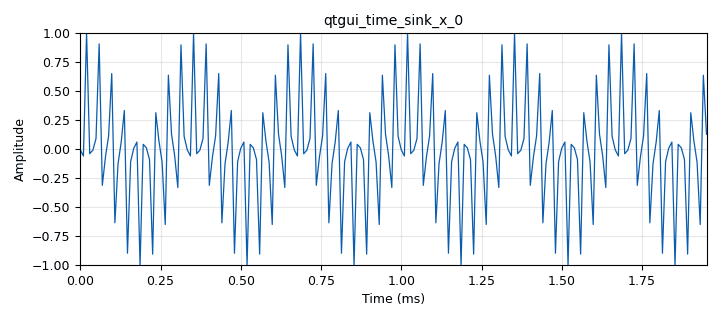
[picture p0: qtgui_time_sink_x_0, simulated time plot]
options:
  parameters:
    generate_options: qt_gui
    id: punto_4
    output_language: python
    title: tutorial_two_4
  states: {}

blocks:
- name: samp_rate
  id: variable
  parameters:
    value: '102000'
  states: {}
- name: analog_sig_source_x_0
  id: analog_sig_source_x
  parameters:
    amp: '1'
    freq: '12000'
    offset: '0'
    phase: '0'
    samp_rate: samp_rate
    type: float
    waveform: analog.GR_COS_WAVE
  states: {}
- name: analog_sig_source_x_1
  id: analog_sig_source_x
  parameters:
    amp: '1'
    freq: '27000'
    offset: '0'
    phase: '0'
    samp_rate: samp_rate
    type: float
    waveform: analog.GR_COS_WAVE
  states: {}
- name: analog_sig_source_x_1_0
  id: analog_sig_source_x
  parameters:
    amp: '1'
    freq: '12000'
    offset: '0'
    phase: '0'
    samp_rate: samp_rate
    type: float
    waveform: analog.GR_COS_WAVE
  states: {}
- name: blocks_multiply_xx_0
  id: blocks_multiply_xx
  parameters:
    num_inputs: '3'
    type: float
  states: {}
- name: qtgui_time_sink_x_0
  id: qtgui_time_sink_x
  parameters:
    size: '200'
    srate: samp_rate
    type: float
  states: {}
- name: rational_resampler_xxx_1
  id: rational_resampler_xxx
  parameters:
    decim: '1'
    fbw: '0.4'
    interp: '1'
    taps: ''
    type: fff
  states: {}
- name: rational_resampler_xxx_2
  id: rational_resampler_xxx
  parameters:
    decim: '1'
    fbw: '0.4'
    interp: '1'
    taps: ''
    type: fff
  states: {}
- name: rational_resampler_xxx_2_0
  id: rational_resampler_xxx
  parameters:
    decim: '1'
    fbw: '0.4'
    interp: '1'
    taps: ''
    type: fff
  states: {}

connections:
- [analog_sig_source_x_0, '0', rational_resampler_xxx_1, '0']
- [analog_sig_source_x_1, '0', rational_resampler_xxx_2, '0']
- [analog_sig_source_x_1_0, '0', rational_resampler_xxx_2_0, '0']
- [blocks_multiply_xx_0, '0', qtgui_time_sink_x_0, '0']
- [rational_resampler_xxx_1, '0', blocks_multiply_xx_0, '0']
- [rational_resampler_xxx_2, '0', blocks_multiply_xx_0, '1']
- [rational_resampler_xxx_2_0, '0', blocks_multiply_xx_0, '2']

metadata:
  file_format: 1
